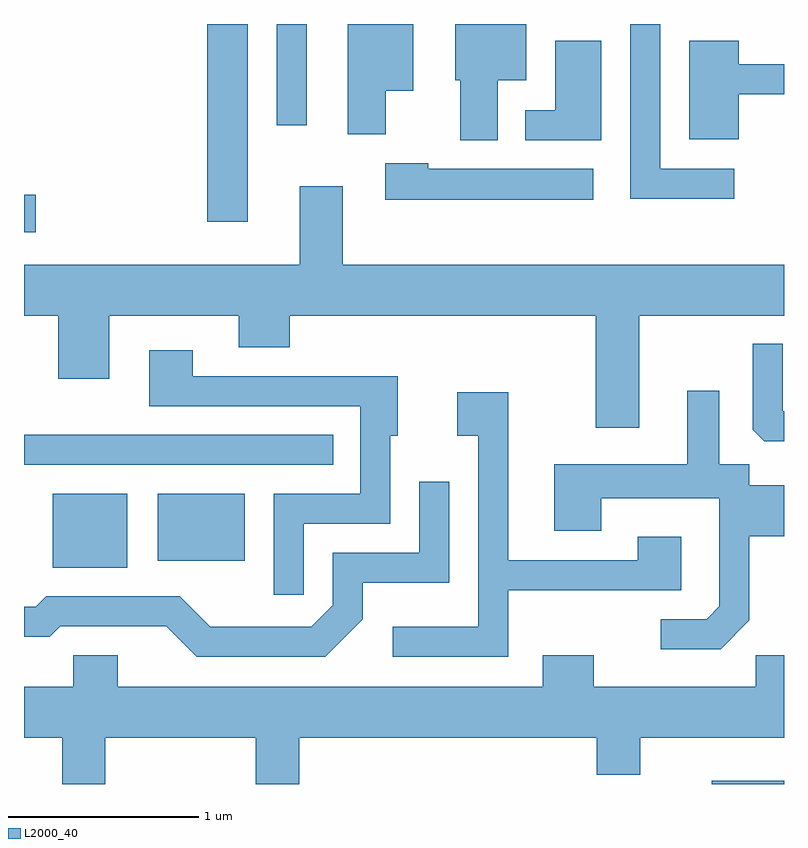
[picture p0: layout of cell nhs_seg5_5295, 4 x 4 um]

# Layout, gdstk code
import gdstk
lib = gdstk.Library(unit=1e-6, precision=1e-09)
def R(c, l, rs):  # rectangles x0, y0, x1, y1
    for r in rs: c.add(gdstk.rectangle(r[:2], r[2:], *l))
def P(c, l, *ps):  # polygons
    for p in ps: c.add(gdstk.Polygon(p, *l))
L2000_40 = (2000, 40)

nhs_seg5_5295 = lib.new_cell('nhs_seg5_5295')
R(nhs_seg5_5295, L2000_40, [(345.231,1492.072,345.611,1492.089), (341.761,1493.211,342.154,1493.599), (342.316,1493.246,342.774,1493.599), (341.611,1493.751,343.238,1493.909), (341.611,1494.976,341.674,1495.174), (342.576,1495.031,342.789,1496.072), (342.941,1495.538,343.099,1496.072)])
P(nhs_seg5_5295, L2000_40, [(344.104,1495.776),(344.254,1495.776),(344.254,1496.072),(343.881,1496.072),(343.881,1495.776),(343.906,1495.776),(343.906,1495.461),(344.104,1495.461)],
  [(345.348,1495.309),(344.959,1495.309),(344.959,1496.072),(344.801,1496.072),(344.801,1495.151),(345.348,1495.151)],
  [(343.514,1495.721),(343.659,1495.721),(343.659,1496.072),(343.316,1496.072),(343.316,1495.491),(343.514,1495.491)],
  [(344.649,1495.984),(344.406,1495.984),(344.406,1495.619),(344.248,1495.619),(344.248,1495.461),(344.649,1495.461)],
  [(345.374,1495.701),(345.611,1495.701),(345.611,1495.859),(345.374,1495.859),(345.374,1495.984),(345.111,1495.984),(345.111,1495.466),(345.374,1495.466)],
  [(344.608,1495.309),(343.739,1495.309),(343.739,1495.339),(343.511,1495.339),(343.511,1495.146),(344.608,1495.146)],
  [(344.849,1494.536),(345.611,1494.536),(345.611,1494.804),(343.289,1494.804),(343.289,1495.219),(343.061,1495.219),(343.061,1494.804),(341.611,1494.804),(341.611,1494.536),(341.791,1494.536),(341.791,1494.206),(342.059,1494.206),(342.059,1494.536),(342.741,1494.536),(342.741,1494.371),(343.009,1494.371),(343.009,1494.536),(344.621,1494.536),(344.621,1493.946),(344.849,1493.946)],
  [(345.611,1494.034),(345.604,1494.034),(345.604,1494.388),(345.446,1494.388),(345.446,1493.937),(345.507,1493.876),(345.611,1493.876)],
  [(343.084,1493.441),(343.539,1493.441),(343.539,1493.906),(343.579,1493.906),(343.579,1494.219),(342.499,1494.219),(342.499,1494.354),(342.271,1494.354),(342.271,1494.061),(343.381,1494.061),(343.381,1493.599),(342.926,1493.599),(342.926,1493.068),(343.084,1493.068)],
  [(345.429,1492.934),(345.429,1493.376),(345.611,1493.376),(345.611,1493.644),(345.429,1493.644),(345.429,1493.754),(345.269,1493.754),(345.269,1494.143),(345.101,1494.143),(345.101,1493.754),(344.401,1493.754),(344.401,1493.406),(344.649,1493.406),(344.649,1493.576),(345.271,1493.576),(345.271,1493.007),(345.204,1492.939),(344.963,1492.939),(344.963,1492.781),(345.277,1492.781)],
  [(344.159,1493.091),(345.069,1493.091),(345.069,1493.374),(344.841,1493.374),(344.841,1493.249),(344.159,1493.249),(344.159,1494.134),(343.891,1494.134),(343.891,1493.906),(344.001,1493.906),(344.001,1492.899),(343.553,1492.899),(343.553,1492.741),(344.159,1492.741)],
  [(343.394,1492.939),(343.394,1493.131),(343.849,1493.131),(343.849,1493.663),(343.691,1493.663),(343.691,1493.289),(343.236,1493.289),(343.236,1493.012),(343.124,1492.899),(342.592,1492.899),(342.432,1493.059),(341.729,1493.059),(341.674,1493.004),(341.611,1493.004),(341.611,1492.846),(341.747,1492.846),(341.802,1492.901),(342.359,1492.901),(342.519,1492.741),(343.197,1492.741)],
  [(342.039,1492.316),(342.831,1492.316),(342.831,1492.072),(343.059,1492.072),(343.059,1492.316),(344.626,1492.316),(344.626,1492.121),(344.854,1492.121),(344.854,1492.316),(345.611,1492.316),(345.611,1492.749),(345.461,1492.749),(345.461,1492.584),(344.609,1492.584),(344.609,1492.749),(344.341,1492.749),(344.341,1492.584),(342.104,1492.584),(342.104,1492.749),(341.871,1492.749),(341.871,1492.584),(341.611,1492.584),(341.611,1492.316),(341.811,1492.316),(341.811,1492.072),(342.039,1492.072)])

lib.write_gds('nhs_seg5_5295.gds')
